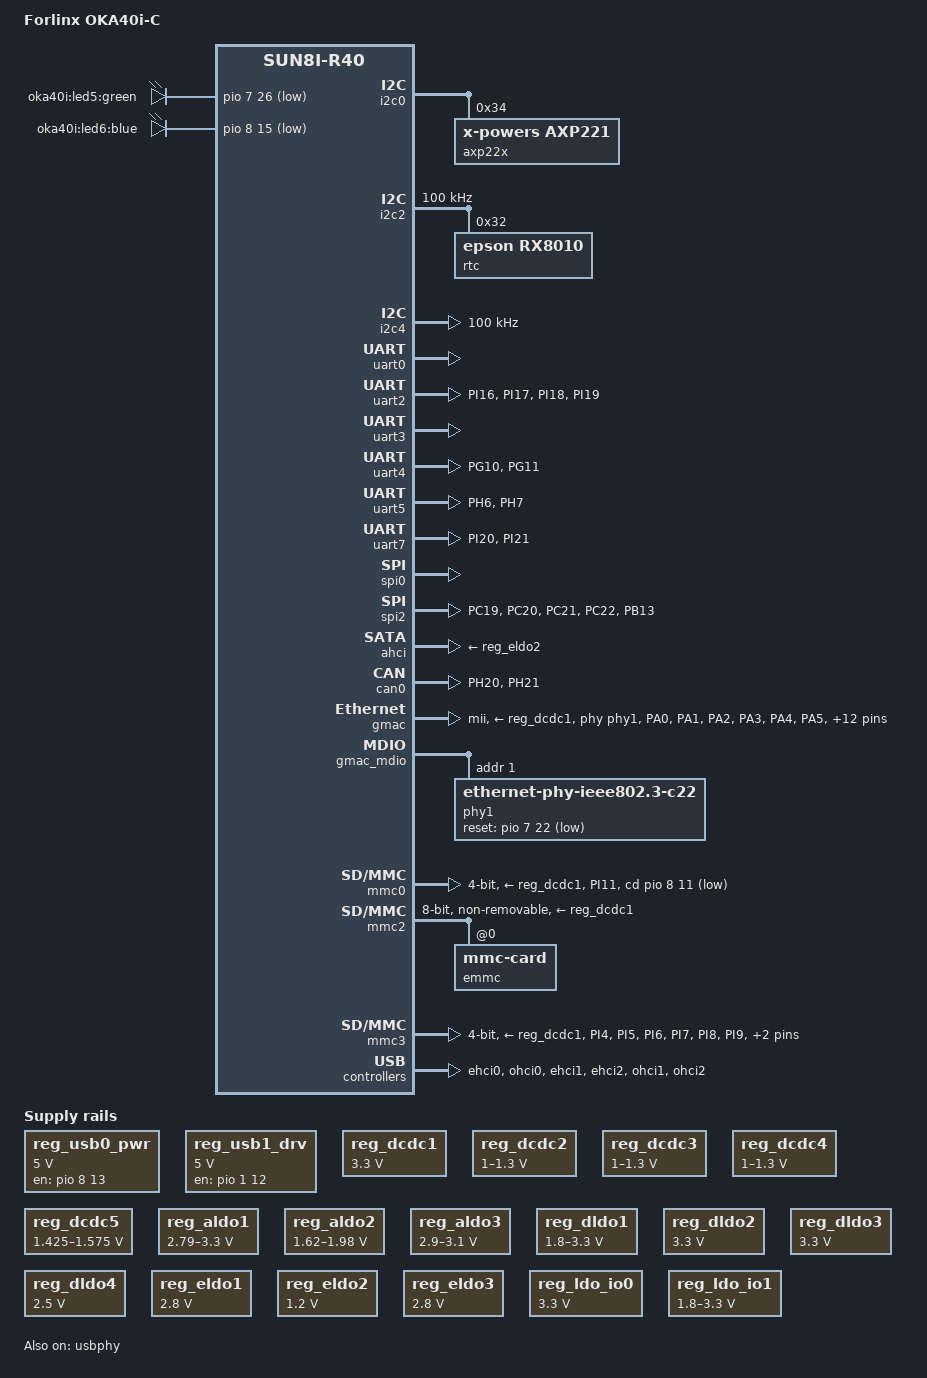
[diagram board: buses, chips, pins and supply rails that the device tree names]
/*
 * Copyright (C) 2017 Icenowy Zheng <icenowy@aosc.io>
 *
 * This file is dual-licensed: you can use it either under the terms
 * of the GPL or the X11 license, at your option. Note that this dual
 * licensing only applies to this file, and not this project as a
 * whole.
 *
 *  a) This file is free software; you can redistribute it and/or
 *     modify it under the terms of the GNU General Public License as
 *     published by the Free Software Foundation; either version 2 of the
 *     License, or (at your option) any later version.
 *
 *     This file is distributed in the hope that it will be useful,
 *     but WITHOUT ANY WARRANTY; without even the implied warranty of
 *     MERCHANTABILITY or FITNESS FOR A PARTICULAR PURPOSE.  See the
 *     GNU General Public License for more details.
 *
 * Or, alternatively,
 *
 *  b) Permission is hereby granted, free of charge, to any person
 *     obtaining a copy of this software and associated documentation
 *     files (the "Software"), to deal in the Software without
 *     restriction, including without limitation the rights to use,
 *     copy, modify, merge, publish, distribute, sublicense, and/or
 *     sell copies of the Software, and to permit persons to whom the
 *     Software is furnished to do so, subject to the following
 *     conditions:
 *
 *     The above copyright notice and this permission notice shall be
 *     included in all copies or substantial portions of the Software.
 *
 *     THE SOFTWARE IS PROVIDED "AS IS", WITHOUT WARRANTY OF ANY KIND,
 *     EXPRESS OR IMPLIED, INCLUDING BUT NOT LIMITED TO THE WARRANTIES
 *     OF MERCHANTABILITY, FITNESS FOR A PARTICULAR PURPOSE AND
 *     NONINFRINGEMENT. IN NO EVENT SHALL THE AUTHORS OR COPYRIGHT
 *     HOLDERS BE LIABLE FOR ANY CLAIM, DAMAGES OR OTHER LIABILITY,
 *     WHETHER IN AN ACTION OF CONTRACT, TORT OR OTHERWISE, ARISING
 *     FROM, OUT OF OR IN CONNECTION WITH THE SOFTWARE OR THE USE OR
 *     OTHER DEALINGS IN THE SOFTWARE.
 */

/dts-v1/;
#include "sun8i-r40.dtsi"

#include <dt-bindings/gpio/gpio.h>

/ {
	model = "Forlinx OKA40i-C";
	compatible = "forlinx,oka40i", "allwinner,sun8i-r40";

	aliases {
		ethernet0 = &gmac;
		serial0 = &uart0;
	};

	chosen {
		stdout-path = "serial0:115200n8";
	};
	
	rtp: rtp@1c25000 {
		//compatible = "allwinner,sun5i-a13-ts";
		compatible = "allwinner,sun4i-a10-ts";
		reg = <0x01c25000 0x100>;
		//clocks = <&ccu CLK_BUS_TS>;
		//resets = <&ccu RST_BUS_TS>;
		interrupts = <GIC_SPI 29 IRQ_TYPE_LEVEL_HIGH>;
		#thermal-sensor-cells = <0>;
		status = "disabled";
	};

	
	reg_usb0_pwr: usb0_pwr {
		regulator-always-on;
		compatible = "regulator-fixed";
		regulator-name = "usb0_pwr";
		regulator-min-microvolt = <5000000>;
		regulator-max-microvolt = <5000000>;
		gpio = <&pio 8 13 GPIO_ACTIVE_HIGH>; /* PI13 */
		enable-active-high;
	};
	
	//reg_usb2_drv: usb2_drv  {
	//	compatible = "regulator-fixed";
	//	regulator-name = "usb2_drv";
	//	regulator-min-microvolt = <5000000>;
	//	regulator-max-microvolt = <5000000>;
	//	gpio = <&pio 7 22 GPIO_ACTIVE_HIGH>; /* PH22 */
	//	enable-active-high;		
	//};
	
	reg_usb1_drv: usb1_drv {
		compatible = "regulator-fixed";
		regulator-name = "usb1_drv";
		regulator-min-microvolt = <5000000>;
		regulator-max-microvolt = <5000000>;
		gpio = <&pio 1 12 GPIO_ACTIVE_HIGH>; /* PB12 */
		enable-active-high;		
	};
	
	leds {
		compatible = "gpio-leds";
		
		user-led5-green {
			label = "oka40i:led5:green";
			gpios = <&pio 7 26 GPIO_ACTIVE_LOW>; /*PH26-led5*/			
		};

		user-led6-blue {
			label = "oka40i:led6:blue";
			gpios = <&pio 8 15 GPIO_ACTIVE_LOW>; /*PI15-led6*/
		};
	};
};

&i2c0 {
	status = "okay";

	axp22x: pmic@34 {
		compatible = "x-powers,axp221";
		reg = <0x34>;
		interrupt-parent = <&nmi_intc>;
		interrupts = <0 IRQ_TYPE_LEVEL_LOW>;
	};
};

&i2c2 {
	clock-frequency = <100000>;
	status = "okay";

	rtc@32 {
		compatible = "epson,rx8010";
		reg = <0x32>;
		//pinctrl-names = "default";
		//pinctrl-0 = <&pinctrl_rtc>;
		//interrupt-parent = <&gpio4>;
		//interrupts = <10 IRQ_TYPE_LEVEL_HIGH>;
	};
};

&i2c4 {
	clock-frequency = <100000>;
	status = "okay";
};

/* console */ 
&uart0 {
	pinctrl-names = "default";
	pinctrl-0 = <&uart0_pb_pins>;
	status = "okay";
};

/* P6 connector */
&uart2 {
	pinctrl-names = "default";
	pinctrl-0 = <&uart2_pins_oka40i>;
	status = "okay";
};

/* P8 connector */
&uart3 {
	pinctrl-names = "default";
	pinctrl-0 = <&uart3_pg_pins>, <&uart3_rts_cts_pg_pins>;
	status = "okay";

};
/* P10 connector */
&uart4 {
	pinctrl-names = "default";
	pinctrl-0 = <&uart4_pins_oka40i>;
	status = "okay";
};

/* rs485 */
&uart5 {
	pinctrl-names = "default";
	pinctrl-0 = <&uart5_pins_oka40i>;
	status = "okay";
};

/* P10 connector */
&uart7 {
	pinctrl-names = "default";
	pinctrl-0 = <&uart7_pins_oka40i>;
	status = "okay";
};

&spi0 {
	pinctrl-names = "default";
	pinctrl-0 = <&spi0_pc_pins>, <&spi0_cs0_pc_pin>;
	status = "okay";
};
&spi2 {
	pinctrl-names = "default";
	pinctrl-0 = <&spi2_pins_oka40i>, <&spi2_cs_pin_oka40i>;
	status = "okay";
};

&ahci {
	ahci-supply = <&reg_dldo4>;
	phy-supply = <&reg_eldo2>; 
	status = "okay";
};

&can0 {
	pinctrl-names = "default";
	pinctrl-0 = <&can_ph_pins>;	/* ! usb0_id conflict ! */
	status = "okay";
};

#include "axp22x.dtsi"

&reg_dcdc1 {
	regulator-always-on;
	regulator-min-microvolt = <3300000>;
	regulator-max-microvolt = <3300000>;
	regulator-name = "vcc-3v3";
};

&reg_dcdc2 {
	regulator-always-on;
	regulator-min-microvolt = <1000000>;
	regulator-max-microvolt = <1300000>;
	regulator-name = "vcc-cpu";
};

&reg_dcdc3 {
	regulator-always-on;
	regulator-min-microvolt = <1000000>;
	regulator-max-microvolt = <1300000>;
	regulator-name = "vdd-sys";
};

&reg_dcdc4 {
	regulator-always-on;
	regulator-min-microvolt = <1000000>;
	regulator-max-microvolt = <1300000>;
	regulator-name = "dcdc4";
};

&reg_dcdc5 {
	regulator-always-on;
	/* ddr3 Supply voltage operating range */
	regulator-min-microvolt = <1425000>;
	regulator-max-microvolt = <1575000>;
	regulator-name = "vcc-dram";
};

/* vcc-tvin vcc-25 */
&reg_aldo1 {
	regulator-always-on;
	regulator-min-microvolt = <2790000>;
	regulator-max-microvolt = <3300000>;
	regulator-name = "vcc-tvin";
};

/* vcc-pc vcc-emmcvq18 */
&reg_aldo2 {
	regulator-always-on;
	regulator-min-microvolt = <1620000>;
	regulator-max-microvolt = <1980000>;
	regulator-name = "vcc-emmcvq18";
};

&reg_aldo3 {
	regulator-always-on;
	regulator-min-microvolt = <2900000>;
	regulator-max-microvolt = <3100000>;
	regulator-name = "avcc";
};

/* vcc-io-wifi vcc-pg */
&reg_dldo1 {
	regulator-always-on;
	regulator-min-microvolt = <1800000>;
	regulator-max-microvolt = <3300000>;
	regulator-name = "vcc-wifi-io-vcc-pg";
};

&reg_dldo2 {
	regulator-always-on;
	regulator-min-microvolt = <3300000>;
	regulator-max-microvolt = <3300000>;
	regulator-name = "vcc-wifi";
};

&reg_dldo3 {
	regulator-always-on;
	regulator-min-microvolt = <3300000>;
	regulator-max-microvolt = <3300000>;
	regulator-name = "wlan-power-ext";
};

/* vcc-sata-25 vcc-pf */
&reg_dldo4 {
	regulator-always-on;
	regulator-min-microvolt = <2500000>;
	regulator-max-microvolt = <2500000>;
	regulator-name = "vcc-sata25-vcc-pf";
};

&reg_eldo1 {
	regulator-always-on;
	regulator-min-microvolt = <2800000>;
	regulator-max-microvolt = <2800000>;
	regulator-name = "isp-dvdd";
};

/* vcc-sata-12 */
&reg_eldo2 {
	regulator-always-on;
	regulator-min-microvolt = <1200000>;
	regulator-max-microvolt = <1200000>;
	regulator-name = "vcc-sata12";
};

&reg_eldo3 {
	regulator-always-on;
	regulator-min-microvolt = <2800000>;
	regulator-max-microvolt = <2800000>;
	regulator-name = "vcc-pe";
};

&reg_ldo_io0 {
	regulator-always-on;
	regulator-min-microvolt = <3300000>;
	regulator-max-microvolt = <3300000>;
	regulator-name = "vcc-ctp";
	status = "okay";
};

&reg_ldo_io1 {
	regulator-always-on;
	regulator-min-microvolt = <1800000>;
	regulator-max-microvolt = <3300000>;
	regulator-name = "vcc-i2s-18";
	status = "okay";
};

&reg_dc1sw {
	regulator-always-on;
	regulator-name = "vcc-lcd";
	status = "okay";
};

&ac_power_supply {
	status = "okay";
};



&pio {
	pinctrl-names = "default";
	pinctrl-0 = <&clk_out_a_pin>;

	vcc-pa-supply = <&reg_dcdc1>;
	vcc-pd-supply = <&reg_dcdc1>;
		
	vcc-pc-supply = <&reg_aldo2>;
	vcc-pe-supply = <&reg_eldo3>;	
	vcc-pf-supply = <&reg_dldo4>;
	vcc-pg-supply = <&reg_dldo1>;
	 
	mmc0_cd_pin_oka40i: mmc0_cd_pin_oka40i@0 {
		pins = "PI11";
		function = "gpio_in";
		bias-pull-up;
	};

	mmc3_pi_pins: mmc3_pi_pins@0 {
		pins = "PI4", "PI5", "PI6", "PI7",
				"PI8", "PI9";
		function = "mmc3";
		drive-strength = <30>;
		bias-pull-up;	
	};
	mmc3_cd_pin_oka40i: mmc3_cd_pin_oka40i@0 {
		pins = "PI10";
		function = "gpio_in";
		bias-pull-up;
	};

	uart2_pins_oka40i: uart2_pins_oka40i@0 {
		pins = "PI16", "PI17", "PI18", "PI19";
		function = "uart2";
		//drive-strength = <30>;	
	};	
	uart4_pins_oka40i: uart4_pins_oka40i@0 {
		pins = "PG10", "PG11";
		function = "uart4";
		//drive-strength = <30>;	
	};
	uart5_pins_oka40i: uart5_pins_oka40i@0 {
		pins = "PH6", "PH7";
		function = "uart5";
		//drive-strength = <30>;	
	};
	uart7_pins_oka40i: uart7_pins_oka40i@0 {
		pins = "PI20", "PI21";
		function = "uart7";
		//drive-strength = <30>;	
	};

	spi2_pins_oka40i: spi2_pins_oka40i@0 {
		pins = "PC19", "PC20", "PC21", "PC22";
		function = "spi2";
	};
	spi2_cs_pin_oka40i: spi2_cs_pin_oka40i@0 {
		pins = "PB13";
		function = "spi2";
	};
	
	can_ph_pins: can-ph-pins {
		pins = "PH20", "PH21";
		function = "can";
	};

	/*usb0_id_detect_pin: usb0_id_detect_pin@0 {
		pins = "PH21";	// ! can_ph conflict !
		function = "gpio_in";
		bias-pull-up;
	};*/
	usb0_vbus_detect_pin: usb0_vbus_detect_pin@0 {
		pins = "PH17";
		function = "gpio_in";
	};

	gmac_pins_mii_a: gmac_pins_mii_a@0 {
		pins = "PA0", "PA1", "PA2",
		       "PA3", "PA4", "PA5", "PA6",
		       "PA7", "PA8", "PA9", "PA10",
		       "PA11", "PA12", "PA13", "PA14",
		       "PA15", "PA16", "PA17";
		function = "gmac";
		drive-strength = <30>;
	};
};

&gmac {
	pinctrl-names = "default";
	pinctrl-0 = <&gmac_pins_mii_a>;
	phy-handle = <&phy1>;
	phy-mode = "mii";
	phy-supply = <&reg_dcdc1>;
	status = "okay";
};
&gmac_mdio {
	phy1: ethernet-phy@1 {
		compatible = "ethernet-phy-ieee802.3-c22";
		reg = <1>;
		max-speed = <100>;
		reset-gpios = <&pio 7 22 GPIO_ACTIVE_LOW>; /* PH22 */
		reset-assert-us = <10000>;
		reset-deassert-us = <25000>;
	};
};

/* mmc0 card detect - ball V24 : gpio PI11 */
&mmc0 {
	pinctrl-names = "default";
	pinctrl-0 = <&mmc0_pins>, <&mmc0_cd_pin_oka40i>;
	vmmc-supply = <&reg_dcdc1>;
	bus-width = <4>;
	cd-gpios = <&pio 8 11 GPIO_ACTIVE_HIGH>; 
	cd-inverted;
	no-1-8-v;
	status = "okay";
};

&mmc2 { 
	vmmc-supply = <&reg_dcdc1>;
	vqmmc-supply = <&reg_aldo2>;
	bus-width = <8>;
	non-removable;
	cap-mmc-hw-reset;	
	status = "okay";
	
	emmc: emmc@0 {
		reg = <0>;
		compatible = "mmc-card";
	};
};

/* mmc3 card detect -  ball V23 gpio PI10 */
&mmc3 {
	pinctrl-names = "default";
	pinctrl-0 = <&mmc3_pi_pins>, <&mmc3_cd_pin_oka40i>;
	vmmc-supply = <&reg_dcdc1>;
	bus-width = <4>;
	cd-gpios = <&pio 8 10 GPIO_ACTIVE_HIGH>;
	cd-inverted;
	no-1-8-v; 
	status = "okay";
};


&ehci0 {
	status = "okay";
};
&ohci0 {
	status = "okay";
};

/* USB2514B 4-port USB 2.0 hub here */
/* P32=port1, P34=port2, miniPCIe=port3, WiFi/BT=port4 */
&ehci1 {
	status = "okay";
};

/* P33 connector */
&ehci2 {
	status = "okay";
};

&ohci1 {
	status = "okay";
};

&ohci2 {
	status = "okay";
};

&usb_power_supply {
	status = "okay";
};

&usbphy {
	pinctrl-names = "default";
	pinctrl-0 = /*<&usb0_id_detect_pin>,*/ <&usb0_vbus_detect_pin>;

	//usb0_id_det-gpio = <&pio 7 21 GPIO_ACTIVE_HIGH>; /* PH21 */
	//usb0_vbus_det-gpios = <&pio 7 17 GPIO_ACTIVE_HIGH>; /* PH17 */
	usb0_vbus-supply = <&reg_usb0_pwr>;
	usb0_vbus_power-supply = <&usb_power_supply>;

	usb1_vbus-supply = <&reg_usb1_drv>;
	//usb2_vbus-supply = <&reg_usb2_drv>;
	
	status = "okay";
};
